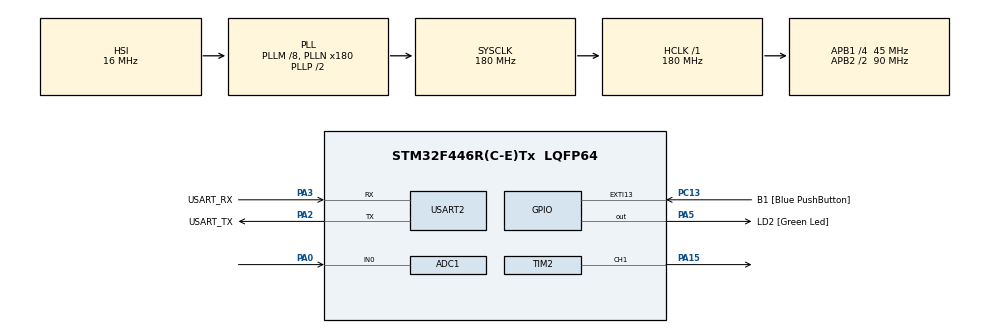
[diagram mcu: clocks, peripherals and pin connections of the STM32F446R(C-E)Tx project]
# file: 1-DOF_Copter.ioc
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ADC1.Channel-3\#ChannelRegularConversion=ADC_CHANNEL_0
ADC1.ExternalTrigConv=ADC_EXTERNALTRIGCONV_T3_TRGO
ADC1.NbrOfConversionFlag=1
ADC1.Rank-3\#ChannelRegularConversion=1
ADC1.SamplingTime-3\#ChannelRegularConversion=ADC_SAMPLETIME_3CYCLES
ADC1.master=1
Dma.Request0=USART2_TX
Dma.USART2_TX.0.Direction=DMA_MEMORY_TO_PERIPH
Dma.USART2_TX.0.FIFOMode=DMA_FIFOMODE_DISABLE
Dma.USART2_TX.0.Instance=DMA1_Stream6
Dma.USART2_TX.0.MemDataAlignment=DMA_MDATAALIGN_BYTE
Dma.USART2_TX.0.MemInc=DMA_MINC_ENABLE
Dma.USART2_TX.0.Mode=DMA_NORMAL
Dma.USART2_TX.0.PeriphDataAlignment=DMA_PDATAALIGN_BYTE
Dma.USART2_TX.0.PeriphInc=DMA_PINC_DISABLE
Dma.USART2_TX.0.Priority=DMA_PRIORITY_LOW
Mcu.Family=STM32F4
Mcu.Name=STM32F446R(C-E)Tx
Mcu.Package=LQFP64
NVIC.ADC_IRQn=true\:0\:0\:false\:false\:true\:true\:true\:true
NVIC.DMA1_Stream6_IRQn=true\:0\:0\:false\:false\:true\:false\:true\:true
NVIC.PriorityGroup=NVIC_PRIORITYGROUP_0
NVIC.USART2_IRQn=true\:0\:0\:false\:false\:true\:true\:true\:true
PA0-WKUP.Signal=ADCx_IN0
PA13.GPIO_Label=TMS
PA13.Mode=Serial_Wire
PA13.Signal=SYS_JTMS-SWDIO
PA14.GPIO_Label=TCK
PA14.Mode=Serial_Wire
PA14.Signal=SYS_JTCK-SWCLK
PA15.Signal=S_TIM2_CH1_ETR
PA2.GPIO_Label=USART_TX
PA2.Mode=Asynchronous
PA2.Signal=USART2_TX
PA3.GPIO_Label=USART_RX
PA3.Mode=Asynchronous
PA3.Signal=USART2_RX
PA5.GPIO_Label=LD2 [Green Led]
PA5.Signal=GPIO_Output
PB3.GPIO_Label=SWO
PB3.Signal=SYS_JTDO-SWO
PC13.GPIO_Label=B1 [Blue PushButton]
PC13.GPIO_ModeDefaultEXTI=GPIO_MODE_IT_FALLING
PC13.Signal=GPXTI13
PC14-OSC32_IN.Mode=LSE-External-Oscillator
PC14-OSC32_IN.Signal=RCC_OSC32_IN
PC15-OSC32_OUT.Mode=LSE-External-Oscillator
PC15-OSC32_OUT.Signal=RCC_OSC32_OUT
PH0-OSC_IN.Mode=HSE-External-Oscillator
PH0-OSC_IN.Signal=RCC_OSC_IN
PH1-OSC_OUT.Mode=HSE-External-Oscillator
PH1-OSC_OUT.Signal=RCC_OSC_OUT
ProjectManager.HeapSize=0x200
ProjectManager.StackSize=0x400
ProjectManager.TargetToolchain=STM32CubeIDE
RCC.48MHZClocksFreq_Value=84000000
RCC.AHBFreq_Value=180000000
RCC.APB1CLKDivider=RCC_HCLK_DIV4
RCC.APB1Freq_Value=45000000
RCC.APB1TimFreq_Value=90000000
RCC.APB2CLKDivider=RCC_HCLK_DIV2
RCC.APB2Freq_Value=90000000
RCC.APB2TimFreq_Value=180000000
RCC.CortexFreq_Value=180000000
RCC.FLatency-AdvancedSettings=FLASH_LATENCY_5
RCC.HCLKFreq_Value=180000000
RCC.HSE_VALUE=8000000
RCC.HSI_VALUE=16000000
RCC.PLLM=8
RCC.PLLN=180
RCC.SYSCLKFreq_VALUE=180000000
RCC.SYSCLKSource=RCC_SYSCLKSOURCE_PLLCLK
RCC.USBFreq_Value=180000000
RCC.VCOOutputFreq_Value=360000000
SH.ADCx_IN0.0=ADC1_IN0,IN0
SH.S_TIM2_CH1_ETR.0=TIM2_CH1,PWM Generation1 CH1
TIM2.Channel-PWM\ Generation1\ CH1=TIM_CHANNEL_1
TIM2.Period=1799999
TIM3.AutoReloadPreload=TIM_AUTORELOAD_PRELOAD_DISABLE
TIM3.Period=1999
TIM3.Prescaler=899
TIM3.TIM_MasterOutputTrigger=TIM_TRGO_UPDATE
TIM3.TIM_MasterSlaveMode=TIM_MASTERSLAVEMODE_DISABLE
USART2.VirtualMode=VM_ASYNC
VP_TIM2_VS_ClockSourceINT.Mode=Internal
VP_TIM3_VS_ClockSourceINT.Mode=Internal
board=NUCLEO-F446RE

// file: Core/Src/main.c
/* USER CODE BEGIN Header */
/**
  ******************************************************************************
  * @file           : main.c
  * @brief          : Main program body
  ******************************************************************************
  * @attention
  *
  * Copyright (c) 2026 STMicroelectronics.
  * All rights reserved.
  *
  * This software is licensed under terms that can be found in the LICENSE file
  * in the root directory of this software component.
  * If no LICENSE file comes with this software, it is provided AS-IS.
  *
  ******************************************************************************
  */
/* USER CODE END Header */
#include "main.h"

/* USER CODE BEGIN Includes */
#include "serial.h"
#include "stdlib.h"
#include "control.h"
/* USER CODE END Includes */

ADC_HandleTypeDef hadc1;

TIM_HandleTypeDef htim2;
TIM_HandleTypeDef htim3;

UART_HandleTypeDef huart2;
DMA_HandleTypeDef hdma_usart2_tx;

void SystemClock_Config(void);
static void MX_GPIO_Init(void);
static void MX_DMA_Init(void);
static void MX_USART2_UART_Init(void);
static void MX_TIM2_Init(void);
static void MX_ADC1_Init(void);
static void MX_TIM3_Init(void);

/* USER CODE BEGIN 0 */

static uint16_t adcValue;
volatile bool flag = false;

void HAL_ADC_ConvCpltCallback(ADC_HandleTypeDef *hadc)
{
	if(hadc == &hadc1){
		adcValue = (uint16_t)HAL_ADC_GetValue(&hadc1);
		setMeasured(control, map(adcValue, 125, 630, 45, 90)); // Sensor Data (Angle)
		//control->setpoint = 80;
		/*
		 * set Setpoint
		 * set Error
		 * Update PIDOutput
		 * Clamp Output
		 * Reset Windup
		 */
		computeError(control);
		if (flag == true){
			computePID(control);
			setOutput(control, clamp(control->output, 400, 0));
			__HAL_TIM_SET_COMPARE(&htim2, TIM_CHANNEL_1, WritePWM(control, getOutput(control)));
			updatePID(control);
		}

		SerialSendPlot4(control->measured, control->output, control->error + 120, control->setpoint);
		/*
		 * output gain = 330/1000
		 * 1. angulo pote
		 * 2. salida PWM
		 * 3. error
		 * 4. setpoint
		 */
	}
}

/* USER CODE END 0 */

int main(void)
{

  /* MCU Configuration--------------------------------------------------------*/

  /* Reset of all peripherals, Initializes the Flash interface and the Systick. */
  HAL_Init();

  /* Configure the system clock */
  SystemClock_Config();

  /* Initialize all configured peripherals */
  MX_GPIO_Init();
  MX_DMA_Init();
  MX_USART2_UART_Init();
  MX_TIM2_Init();
  MX_ADC1_Init();
  MX_TIM3_Init();
  /* USER CODE BEGIN 2 */
  controlInit(control, 1, 0, 4.145, -4.0306, 0, 80, 0, 0, 0, 0, 0, 316, 316);

  //controlInit(control, 0.67159, 0.32841, 121.35,  -230.99,  109.85, 0, 0, 0, 316, 0, 0, 316, 316);
  HAL_ADC_Start_IT(&hadc1);
  HAL_TIM_Base_Start(&htim3);

  HAL_TIM_PWM_Start(&htim2, TIM_CHANNEL_1);
  __HAL_TIM_SET_COMPARE(&htim2, TIM_CHANNEL_1, 90000);
  serialInit(&huart2);

  /* USER CODE END 2 */

  /* Infinite loop */
  /* USER CODE BEGIN WHILE */
  char command[32];
  while (1)
  {
    /* USER CODE END WHILE */

    /* USER CODE BEGIN 3 */
	  if (serialAvailable())
	  {
	      serialReadLine(command, sizeof(command));

	      uint16_t cmd = decodeGcode(command);

	      HAL_GPIO_TogglePin(GPIOA, GPIO_PIN_5);

	      switch (cmd)
	      {
	          case CMD_CL:
	              flag = true;
	              break;

	          case CMD_OL:
	              flag = false;

	              if (command[0] == 'O')
	              {
	                  int32_t value = atoi(&command[1]);

	                  setOutput(control, value);

	                  __HAL_TIM_SET_COMPARE(
	                      &htim2,
	                      TIM_CHANNEL_1,
	                      WritePWM(control, value)
	                  );
	              }
	              break;

	          case CMD_KP:
	        	  setKp(atof(&command[1]));
	              updateCoefficients();
	              break;

	          case CMD_KI:
	        	  setKi(atof(&command[1]));
	              updateCoefficients();
	              break;

	          case CMD_KD:
	        	  setKd(atof(&command[1]));
	              updateCoefficients();
	              break;

	          case CMD_R:
	        	  setSetpoint(control, atof(&command[1]));
	        	  break;

	          case CMD_STOP:
	              flag = false;
	              setOutput(control, 0);

	              __HAL_TIM_SET_COMPARE(
	                  &htim2,
	                  TIM_CHANNEL_1,
	                  WritePWM(control, 0)
	              );
	              break;

	          case CMD_NONE:
	          default:
	              break;
	      }
	  }
  }
  /* USER CODE END 3 */
}

void SystemClock_Config(void)
{
  RCC_OscInitTypeDef RCC_OscInitStruct = {0};
  RCC_ClkInitTypeDef RCC_ClkInitStruct = {0};

  /** Configure the main internal regulator output voltage
  */
  __HAL_RCC_PWR_CLK_ENABLE();
  __HAL_PWR_VOLTAGESCALING_CONFIG(PWR_REGULATOR_VOLTAGE_SCALE1);

  /** Initializes the RCC Oscillators according to the specified parameters
  * in the RCC_OscInitTypeDef structure.
  */
  RCC_OscInitStruct.OscillatorType = RCC_OSCILLATORTYPE_HSI;
  RCC_OscInitStruct.HSIState = RCC_HSI_ON;
  RCC_OscInitStruct.HSICalibrationValue = RCC_HSICALIBRATION_DEFAULT;
  RCC_OscInitStruct.PLL.PLLState = RCC_PLL_ON;
  RCC_OscInitStruct.PLL.PLLSource = RCC_PLLSOURCE_HSI;
  RCC_OscInitStruct.PLL.PLLM = 8;
  RCC_OscInitStruct.PLL.PLLN = 180;
  RCC_OscInitStruct.PLL.PLLP = RCC_PLLP_DIV2;
  RCC_OscInitStruct.PLL.PLLQ = 2;
  RCC_OscInitStruct.PLL.PLLR = 2;
  if (HAL_RCC_OscConfig(&RCC_OscInitStruct) != HAL_OK)
  {
    Error_Handler();
  }

  /** Activate the Over-Drive mode
  */
  if (HAL_PWREx_EnableOverDrive() != HAL_OK)
  {
    Error_Handler();
  }

  /** Initializes the CPU, AHB and APB buses clocks
  */
  RCC_ClkInitStruct.ClockType = RCC_CLOCKTYPE_HCLK|RCC_CLOCKTYPE_SYSCLK
                              |RCC_CLOCKTYPE_PCLK1|RCC_CLOCKTYPE_PCLK2;
  RCC_ClkInitStruct.SYSCLKSource = RCC_SYSCLKSOURCE_PLLCLK;
  RCC_ClkInitStruct.AHBCLKDivider = RCC_SYSCLK_DIV1;
  RCC_ClkInitStruct.APB1CLKDivider = RCC_HCLK_DIV4;
  RCC_ClkInitStruct.APB2CLKDivider = RCC_HCLK_DIV2;

  if (HAL_RCC_ClockConfig(&RCC_ClkInitStruct, FLASH_LATENCY_5) != HAL_OK)
  {
    Error_Handler();
  }
}

static void MX_ADC1_Init(void)
{

  ADC_ChannelConfTypeDef sConfig = {0};

  /** Configure the global features of the ADC (Clock, Resolution, Data Alignment and number of conversion)
  */
  hadc1.Instance = ADC1;
  hadc1.Init.ClockPrescaler = ADC_CLOCK_SYNC_PCLK_DIV4;
  hadc1.Init.Resolution = ADC_RESOLUTION_12B;
  hadc1.Init.ScanConvMode = DISABLE;
  hadc1.Init.ContinuousConvMode = DISABLE;
  hadc1.Init.DiscontinuousConvMode = DISABLE;
  hadc1.Init.ExternalTrigConvEdge = ADC_EXTERNALTRIGCONVEDGE_RISING;
  hadc1.Init.ExternalTrigConv = ADC_EXTERNALTRIGCONV_T3_TRGO;
  hadc1.Init.DataAlign = ADC_DATAALIGN_RIGHT;
  hadc1.Init.NbrOfConversion = 1;
  hadc1.Init.DMAContinuousRequests = DISABLE;
  hadc1.Init.EOCSelection = ADC_EOC_SINGLE_CONV;
  if (HAL_ADC_Init(&hadc1) != HAL_OK)
  {
    Error_Handler();
  }

  /** Configure for the selected ADC regular channel its corresponding rank in the sequencer and its sample time.
  */
  sConfig.Channel = ADC_CHANNEL_0;
  sConfig.Rank = 1;
  sConfig.SamplingTime = ADC_SAMPLETIME_3CYCLES;
  if (HAL_ADC_ConfigChannel(&hadc1, &sConfig) != HAL_OK)
  {
    Error_Handler();
  }

}

static void MX_TIM2_Init(void)
{

  TIM_ClockConfigTypeDef sClockSourceConfig = {0};
  TIM_MasterConfigTypeDef sMasterConfig = {0};
  TIM_OC_InitTypeDef sConfigOC = {0};

  htim2.Instance = TIM2;
  htim2.Init.Prescaler = 0;
  htim2.Init.CounterMode = TIM_COUNTERMODE_UP;
  htim2.Init.Period = 1799999;
  htim2.Init.ClockDivision = TIM_CLOCKDIVISION_DIV1;
  htim2.Init.AutoReloadPreload = TIM_AUTORELOAD_PRELOAD_DISABLE;
  if (HAL_TIM_Base_Init(&htim2) != HAL_OK)
  {
    Error_Handler();
  }
  sClockSourceConfig.ClockSource = TIM_CLOCKSOURCE_INTERNAL;
  if (HAL_TIM_ConfigClockSource(&htim2, &sClockSourceConfig) != HAL_OK)
  {
    Error_Handler();
  }
  if (HAL_TIM_PWM_Init(&htim2) != HAL_OK)
  {
    Error_Handler();
  }
  sMasterConfig.MasterOutputTrigger = TIM_TRGO_RESET;
  sMasterConfig.MasterSlaveMode = TIM_MASTERSLAVEMODE_DISABLE;
  if (HAL_TIMEx_MasterConfigSynchronization(&htim2, &sMasterConfig) != HAL_OK)
  {
    Error_Handler();
  }
  sConfigOC.OCMode = TIM_OCMODE_PWM1;
  sConfigOC.Pulse = 0;
  sConfigOC.OCPolarity = TIM_OCPOLARITY_HIGH;
  sConfigOC.OCFastMode = TIM_OCFAST_DISABLE;
  if (HAL_TIM_PWM_ConfigChannel(&htim2, &sConfigOC, TIM_CHANNEL_1) != HAL_OK)
  {
    Error_Handler();
  }
  HAL_TIM_MspPostInit(&htim2);

}

static void MX_TIM3_Init(void)
{

  TIM_ClockConfigTypeDef sClockSourceConfig = {0};
  TIM_MasterConfigTypeDef sMasterConfig = {0};

  htim3.Instance = TIM3;
  htim3.Init.Prescaler = 899;
  htim3.Init.CounterMode = TIM_COUNTERMODE_UP;
  htim3.Init.Period = 1999;
  htim3.Init.ClockDivision = TIM_CLOCKDIVISION_DIV1;
  htim3.Init.AutoReloadPreload = TIM_AUTORELOAD_PRELOAD_DISABLE;
  if (HAL_TIM_Base_Init(&htim3) != HAL_OK)
  {
    Error_Handler();
  }
  sClockSourceConfig.ClockSource = TIM_CLOCKSOURCE_INTERNAL;
  if (HAL_TIM_ConfigClockSource(&htim3, &sClockSourceConfig) != HAL_OK)
  {
    Error_Handler();
  }
  sMasterConfig.MasterOutputTrigger = TIM_TRGO_UPDATE;
  sMasterConfig.MasterSlaveMode = TIM_MASTERSLAVEMODE_DISABLE;
  if (HAL_TIMEx_MasterConfigSynchronization(&htim3, &sMasterConfig) != HAL_OK)
  {
    Error_Handler();
  }

}

static void MX_USART2_UART_Init(void)
{

  huart2.Instance = USART2;
  huart2.Init.BaudRate = 115200;
  huart2.Init.WordLength = UART_WORDLENGTH_8B;
  huart2.Init.StopBits = UART_STOPBITS_1;
  huart2.Init.Parity = UART_PARITY_NONE;
  huart2.Init.Mode = UART_MODE_TX_RX;
  huart2.Init.HwFlowCtl = UART_HWCONTROL_NONE;
  huart2.Init.OverSampling = UART_OVERSAMPLING_16;
  if (HAL_UART_Init(&huart2) != HAL_OK)
  {
    Error_Handler();
  }

}

static void MX_DMA_Init(void)
{

  /* DMA controller clock enable */
  __HAL_RCC_DMA1_CLK_ENABLE();

  /* DMA interrupt init */
  /* DMA1_Stream6_IRQn interrupt configuration */
  HAL_NVIC_SetPriority(DMA1_Stream6_IRQn, 0, 0);
  HAL_NVIC_EnableIRQ(DMA1_Stream6_IRQn);

}

static void MX_GPIO_Init(void)
{
  GPIO_InitTypeDef GPIO_InitStruct = {0};

  /* GPIO Ports Clock Enable */
  __HAL_RCC_GPIOC_CLK_ENABLE();
  __HAL_RCC_GPIOH_CLK_ENABLE();
  __HAL_RCC_GPIOA_CLK_ENABLE();
  __HAL_RCC_GPIOB_CLK_ENABLE();

  /*Configure GPIO pin Output Level */
  HAL_GPIO_WritePin(LD2_GPIO_Port, LD2_Pin, GPIO_PIN_RESET);

  /*Configure GPIO pin : B1_Pin */
  GPIO_InitStruct.Pin = B1_Pin;
  GPIO_InitStruct.Mode = GPIO_MODE_IT_FALLING;
  GPIO_InitStruct.Pull = GPIO_NOPULL;
  HAL_GPIO_Init(B1_GPIO_Port, &GPIO_InitStruct);

  /*Configure GPIO pin : LD2_Pin */
  GPIO_InitStruct.Pin = LD2_Pin;
  GPIO_InitStruct.Mode = GPIO_MODE_OUTPUT_PP;
  GPIO_InitStruct.Pull = GPIO_NOPULL;
  GPIO_InitStruct.Speed = GPIO_SPEED_FREQ_LOW;
  HAL_GPIO_Init(LD2_GPIO_Port, &GPIO_InitStruct);

}

void Error_Handler(void)
{
  __disable_irq();
  while (1)
  {
  }
}
